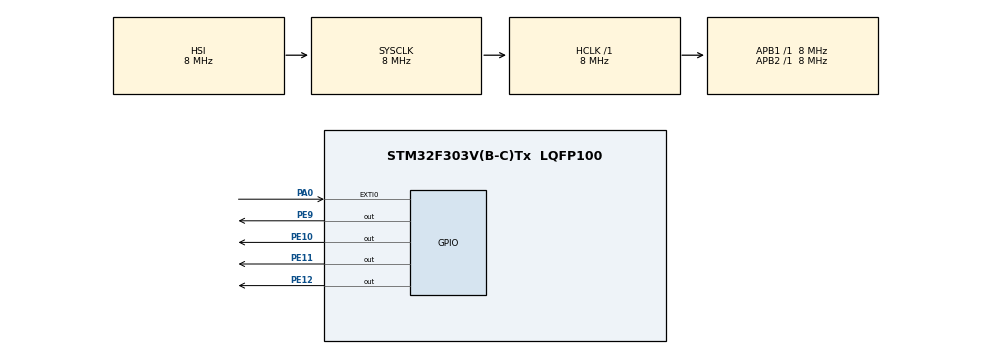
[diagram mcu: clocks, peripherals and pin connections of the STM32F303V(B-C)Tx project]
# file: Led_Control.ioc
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FREERTOS.Tasks01=defaultTask,24,128,StartDefaultTask,Default,NULL,Dynamic,NULL,NULL
FREERTOS.configUSE_NEWLIB_REENTRANT=1
Mcu.Family=STM32F3
Mcu.Name=STM32F303V(B-C)Tx
Mcu.Package=LQFP100
NVIC.EXTI0_IRQn=true\:5\:0\:false\:false\:true\:true\:true\:true\:true
NVIC.PriorityGroup=NVIC_PRIORITYGROUP_4
PA0.Signal=GPXTI0
PE10.Signal=GPIO_Output
PE11.Signal=GPIO_Output
PE12.Signal=GPIO_Output
PE9.Signal=GPIO_Output
ProjectManager.HeapSize=0x200
ProjectManager.StackSize=0x400
ProjectManager.TargetToolchain=STM32CubeIDE
RCC.AHBFreq_Value=8000000
RCC.APB1Freq_Value=8000000
RCC.APB2Freq_Value=8000000
RCC.CortexFreq_Value=8000000
RCC.HSE_VALUE=8000000
RCC.HSI_VALUE=8000000
RCC.LSE_VALUE=32768
RCC.SYSCLKFreq_VALUE=8000000
VP_FREERTOS_VS_CMSIS_V2.Mode=CMSIS_V2
board=custom

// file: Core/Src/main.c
/* USER CODE BEGIN Header */
/**
  ******************************************************************************
  * @file           : main.c
  * @brief          : Main program body
  ******************************************************************************
  * @attention
  *
  * Copyright (c) 2023 STMicroelectronics.
  * All rights reserved.
  *
  * This software is licensed under terms that can be found in the LICENSE file
  * in the root directory of this software component.
  * If no LICENSE file comes with this software, it is provided AS-IS.
  *
  ******************************************************************************
  */
/* USER CODE END Header */
#include "main.h"
#include "cmsis_os.h"

/* USER CODE BEGIN Includes */
#include "FreeRTOS.h"
#include "task.h"
#include "string.h"
#include "stdio.h"
/* USER CODE END Includes */

/* Definitions for defaultTask */

void SystemClock_Config(void);
static void MX_GPIO_Init(void);
void StartDefaultTask(void *argument);

/* USER CODE BEGIN PFP */
uint8_t count=0;
void led(void* params);
void task1(void* params);

/* USER CODE END PFP */

/* USER CODE BEGIN 0 */

void EXTI0_IRQHandler(void)
{

	traceISR_ENTER();

  HAL_GPIO_EXTI_IRQHandler(GPIO_PIN_0);

  if(HAL_GPIO_ReadPin(GPIOA, GPIO_PIN_0)==GPIO_PIN_SET){

	  if(count==5){

		  count=0;
	  }
	  count++;

  }

	traceISR_EXIT();

}

/* USER CODE END 0 */

int main(void)
{
  /* USER CODE BEGIN 1 */

	DWT->CTRL|=(1<<0);
	  SEGGER_SYSVIEW_Conf();
	  SEGGER_SYSVIEW_Start();
  /* USER CODE END 1 */

  /* MCU Configuration--------------------------------------------------------*/

  /* Reset of all peripherals, Initializes the Flash interface and the Systick. */
  HAL_Init();

  /* Configure the system clock */
  SystemClock_Config();

  /* Initialize all configured peripherals */
  MX_GPIO_Init();
  /* USER CODE BEGIN 2 */

  xTaskCreate(led, "led", configMINIMAL_STACK_SIZE, NULL, 3, NULL);
  xTaskCreate(task1, "task1 ", configMINIMAL_STACK_SIZE, NULL, 3, NULL);
  vTaskStartScheduler();

  /* USER CODE END 2 */

  /* Init scheduler */
  osKernelInitialize();

  /* Create the thread(s) */
  /* creation of defaultTask */

  /* Start scheduler */
  osKernelStart();
  /* We should never get here as control is now taken by the scheduler */
  /* Infinite loop */
  while (1)
  {

  }
}

void SystemClock_Config(void)
{
  RCC_OscInitTypeDef RCC_OscInitStruct = {0};
  RCC_ClkInitTypeDef RCC_ClkInitStruct = {0};

  /** Initializes the RCC Oscillators according to the specified parameters
  * in the RCC_OscInitTypeDef structure.
  */
  RCC_OscInitStruct.OscillatorType = RCC_OSCILLATORTYPE_HSI;
  RCC_OscInitStruct.HSIState = RCC_HSI_ON;
  RCC_OscInitStruct.HSICalibrationValue = RCC_HSICALIBRATION_DEFAULT;
  RCC_OscInitStruct.PLL.PLLState = RCC_PLL_NONE;
  if (HAL_RCC_OscConfig(&RCC_OscInitStruct) != HAL_OK)
  {
    Error_Handler();
  }

  /** Initializes the CPU, AHB and APB buses clocks
  */
  RCC_ClkInitStruct.ClockType = RCC_CLOCKTYPE_HCLK|RCC_CLOCKTYPE_SYSCLK
                              |RCC_CLOCKTYPE_PCLK1|RCC_CLOCKTYPE_PCLK2;
  RCC_ClkInitStruct.SYSCLKSource = RCC_SYSCLKSOURCE_HSI;
  RCC_ClkInitStruct.AHBCLKDivider = RCC_SYSCLK_DIV1;
  RCC_ClkInitStruct.APB1CLKDivider = RCC_HCLK_DIV1;
  RCC_ClkInitStruct.APB2CLKDivider = RCC_HCLK_DIV1;

  if (HAL_RCC_ClockConfig(&RCC_ClkInitStruct, FLASH_LATENCY_0) != HAL_OK)
  {
    Error_Handler();
  }
}

static void MX_GPIO_Init(void)
{
  GPIO_InitTypeDef GPIO_InitStruct = {0};

  /* GPIO Ports Clock Enable */
  __HAL_RCC_GPIOA_CLK_ENABLE();
  __HAL_RCC_GPIOE_CLK_ENABLE();

  /*Configure GPIO pin Output Level */
  HAL_GPIO_WritePin(GPIOE, GPIO_PIN_9|GPIO_PIN_10|GPIO_PIN_11|GPIO_PIN_12, GPIO_PIN_RESET);

  /*Configure GPIO pin : PA0 */
  GPIO_InitStruct.Pin = GPIO_PIN_0;
  GPIO_InitStruct.Mode = GPIO_MODE_IT_RISING;
  GPIO_InitStruct.Pull = GPIO_NOPULL;
  HAL_GPIO_Init(GPIOA, &GPIO_InitStruct);

  /*Configure GPIO pins : PE9 PE10 PE11 PE12 */
  GPIO_InitStruct.Pin = GPIO_PIN_9|GPIO_PIN_10|GPIO_PIN_11|GPIO_PIN_12;
  GPIO_InitStruct.Mode = GPIO_MODE_OUTPUT_PP;
  GPIO_InitStruct.Pull = GPIO_NOPULL;
  GPIO_InitStruct.Speed = GPIO_SPEED_FREQ_LOW;
  HAL_GPIO_Init(GPIOE, &GPIO_InitStruct);

  /* EXTI interrupt init*/
  HAL_NVIC_SetPriority(EXTI0_IRQn, 5, 0);
  HAL_NVIC_EnableIRQ(EXTI0_IRQn);

}

/* USER CODE BEGIN 4 */

void led(void* params){

	while(1){

		if(count==1){

			HAL_GPIO_TogglePin(GPIOE, GPIO_PIN_9);
			vTaskDelay(pdMS_TO_TICKS(250));
		}

		else if(count==2){

			HAL_GPIO_WritePin(GPIOE, GPIO_PIN_9, GPIO_PIN_RESET);

			HAL_GPIO_TogglePin(GPIOE, GPIO_PIN_10);
			vTaskDelay(pdMS_TO_TICKS(500));
		}

		else if(count==3){

			HAL_GPIO_WritePin(GPIOE, GPIO_PIN_10, GPIO_PIN_RESET);

			HAL_GPIO_TogglePin(GPIOE, GPIO_PIN_11);
			vTaskDelay(pdMS_TO_TICKS(750));
		}

		else if(count==4){

			HAL_GPIO_WritePin(GPIOE, GPIO_PIN_11, GPIO_PIN_RESET);

			HAL_GPIO_TogglePin(GPIOE, GPIO_PIN_12);
			vTaskDelay(pdMS_TO_TICKS(1000));
		}

		else
			HAL_GPIO_WritePin(GPIOE, GPIO_PIN_9 | GPIO_PIN_10 | GPIO_PIN_11 | GPIO_PIN_12, GPIO_PIN_RESET);

	}

}
void task1(void* params){

	while(1);
}

/* USER CODE END 4 */

void StartDefaultTask(void *argument)
{
  for(;;)
  {
    osDelay(1);
  }
}

void Error_Handler(void)
{
  __disable_irq();
  while (1)
  {
  }
}
